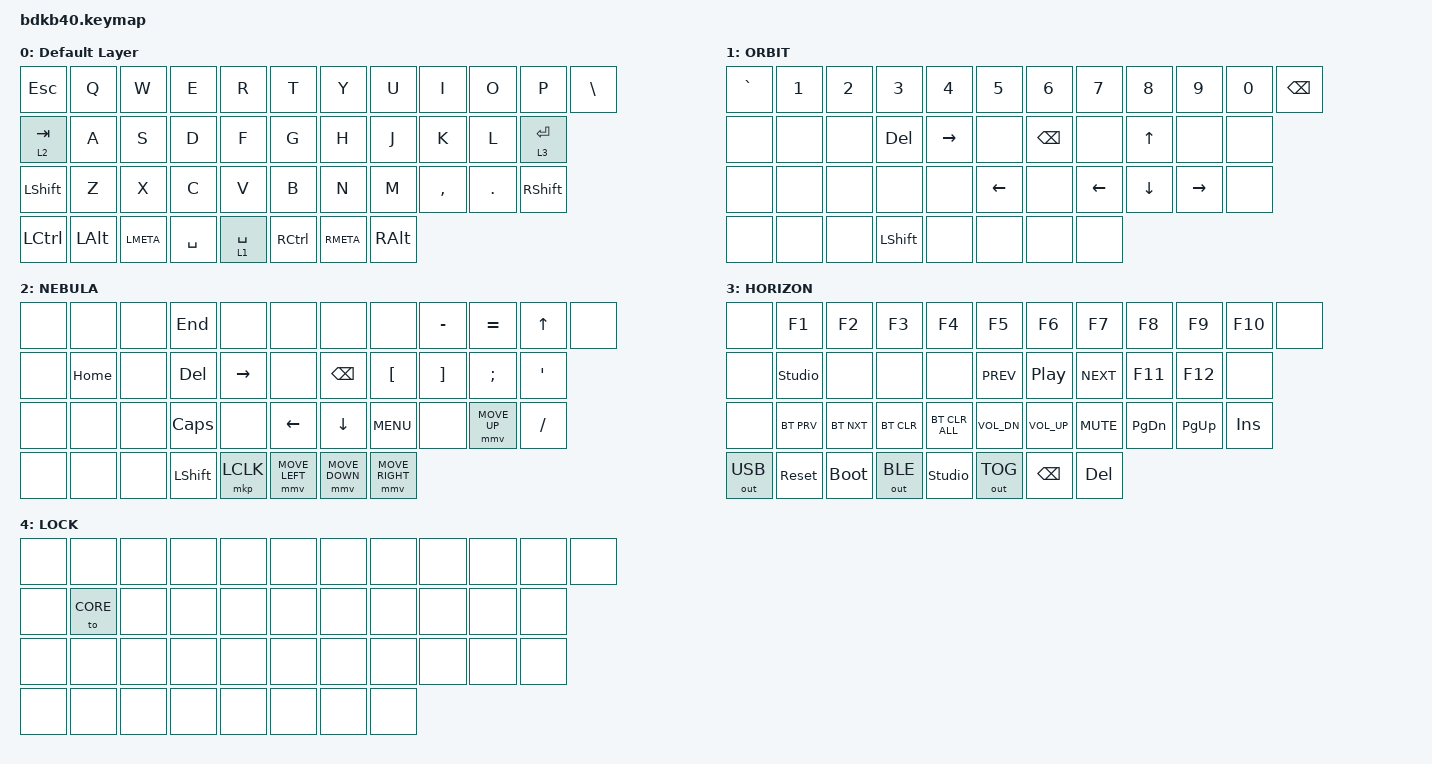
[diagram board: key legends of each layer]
// This file was generated from a template. Edit it to match your keyboard.
// See https://zmk.dev/docs/development/hardware-integration/new-shield for more instructions.

#include <behaviors.dtsi>
#include <dt-bindings/zmk/bt.h>
#include <dt-bindings/zmk/keys.h>
#include <dt-bindings/zmk/outputs.h>
#include <dt-bindings/zmk/pointing.h>

#define CORE    0
#define ORBIT   1
#define NEBULA  2
#define HORIZON 3
#define LOCK    4

/ {
    // Define a default keymap here.
    // See https://zmk.dev/docs/development/hardware-integration/new-shield#default-keymap.

    behaviors {
        lock_layer_on: lock_layer_on {
            compatible = "zmk,behavior-toggle-layer";
            #binding-cells = <1>;
            display-name = "Lock Layer On";
            toggle-mode = "on";
            locking;
        };
    };

    combos {
        compatible = "zmk,combos";

        tabc {
            bindings = <&kp LC(INSERT)>;
            key-positions = <12 26>;
        };

        tabv {
            bindings = <&kp LS(INSERT)>;
            key-positions = <12 27>;
        };

        lock_combo {
            bindings = <&lock_and_soft_off>;
            key-positions = <11 22>;
        };
    };

    macros {
        del_to_begin: m1 {
            compatible = "zmk,behavior-macro";
            #binding-cells = <0>;
            bindings = <&kp LS(HOME) &kp DELETE>;
            label = "M1";
        };

        del_to_end: del_to_end {
            compatible = "zmk,behavior-macro";
            #binding-cells = <0>;
            bindings = <&kp LS(END) &kp DELETE>;
            label = "DEL_TO_END";
        };

        add_new_line: add_new_line {
            compatible = "zmk,behavior-macro";
            #binding-cells = <0>;
            bindings = <&kp END &kp ENTER>;
            label = "ADD_NEW_LINE";
        };
        
        lock_and_soft_off: lock_and_soft_off {
            compatible = "zmk,behavior-macro";
            #binding-cells = <0>;
            bindings = <&lock_layer_on LOCK &soft_off>;
            label = "LOCK_AND_SOFT_OFF";
        };
    };

    keymap {
        compatible = "zmk,keymap";

        CORE {
            display-name = "Default Layer";

            // ------------------------------------------------------------------------------------------------------------
            // | ESC |  Q  |  W  |  E  |  R  |  T  |  Y  |  U  |  I  |  O  |  P  |BSPC |
            // |  CAPS |  A  |  S  |  D  |  F  |  G  |  H  |  J  |  K  |  L  |    \    |
            // |  SHIFT  |  Z  |  X  |  C  |  V  |  B  |  N  |  M  |  ,  |  .  | SHIFT |
            // |  CTRL | ALT | LMETA |   SPACE   |     SPACE     | Raise |RMETA|  CTRL |

            bindings = <
                &kp ESC     &kp Q      &kp W     &kp E      &kp R        &kp T      &kp Y      &kp U     &kp I      &kp O    &kp P        &kp BSLH
                &lt 2 TAB   &kp A      &kp S     &kp D      &kp F        &kp G      &kp H      &kp J     &kp K      &kp L    &lt 3 ENTER
                &kp LSHIFT  &kp Z      &kp X     &kp C      &kp V        &kp B      &kp N      &kp M     &kp COMMA  &kp DOT  &kp RSHIFT
                &kp LCTRL   &kp LALT  &kp LMETA  &kp SPACE  &lt 1 SPACE  &kp RCTRL  &kp RMETA  &kp RALT
            >;
        };

        ORBIT {
            display-name = "ORBIT";

            // ------------------------------------------------------------------------------------------------------------
            // | ESC |  Q  |  W  |  E  |  R  |  T  |  Y  |  U  |  I  |  O  |  P  |BSPC |
            // |  CAPS |  A  |  S  |  D  |  F  |  G  |  H  |  J  |  K  |  L  |    \    |
            // |  SHIFT  |  Z  |  X  |  C  |  V  |  B  |  N  |  M  |  ,  |  .  | SHIFT |
            // |  CTRL | ALT | LMETA |   SPACE   |     SPACE     | Raise |RMETA|  CTRL |

            bindings = <
                &kp GRAVE  &kp N1  &kp N2  &kp N3          &kp N4     &kp N5    &kp N6    &kp N7    &kp N8    &kp N9     &kp N0  &kp BSPC
                &none      &none   &none   &kp DEL         &kp RIGHT  &none     &kp BSPC  &none     &kp UP    &none      &none
                &none      &none   &none   &none           &none      &kp LEFT  &none     &kp LEFT  &kp DOWN  &kp RIGHT  &none
                &none      &none   &none   &kp LEFT_SHIFT  &none      &none     &none     &none
            >;
        };

        NEBULA {
            bindings = <
                &none  &none     &none  &kp END    &none      &none           &none           &none            &kp MINUS  &kp EQUAL     &kp UP    &none
                &none  &kp HOME  &none  &kp DEL    &kp RIGHT  &none           &kp BSPC        &kp LBKT         &kp RBKT   &kp SEMI      &kp APOS
                &none  &none     &none  &kp CAPS   &none      &kp LEFT        &kp DOWN        &kp C_MENU       &none      &mmv MOVE_UP  &kp FSLH
                &none  &none     &none  &kp LSHFT  &mkp LCLK  &mmv MOVE_LEFT  &mmv MOVE_DOWN  &mmv MOVE_RIGHT
            >;
        }; 

        HORIZON {
            display-name = "HORIZON";

            bindings = <
                &none  &kp F1      &kp F2       &kp F3      &kp F4          &kp F5        &kp F6           &kp F7      &kp F8     &kp F9     &kp F10     &none
                &none   &studio_unlock   &none        &none       &none           &kp C_PREV    &kp C_PP         &kp C_NEXT  &kp F11    &kp F12    &none
                &none        &bt BT_PRV  &bt BT_NXT   &bt BT_CLR  &bt BT_CLR_ALL  &kp C_VOL_DN  &kp C_VOLUME_UP  &kp K_MUTE  &kp PG_DN  &kp PG_UP  &kp INSERT
                &out OUT_USB &sys_reset  &bootloader  &out OUT_BLE &studio_unlock &out OUT_TOG &kp BSPC         &kp DEL              
            >;
        };
        
        LOCK {
            display-name = "LOCK";

            bindings = <
                &none  &none     &none  &none  &none  &none  &none  &none  &none  &none  &none  &none
                &none  &to CORE  &none  &none  &none  &none  &none  &none  &none  &none  &none
                &none  &none     &none  &none  &none  &none  &none  &none  &none  &none  &none
                &none  &none     &none  &none  &none  &none  &none  &none
            >;
        };
    };
};
